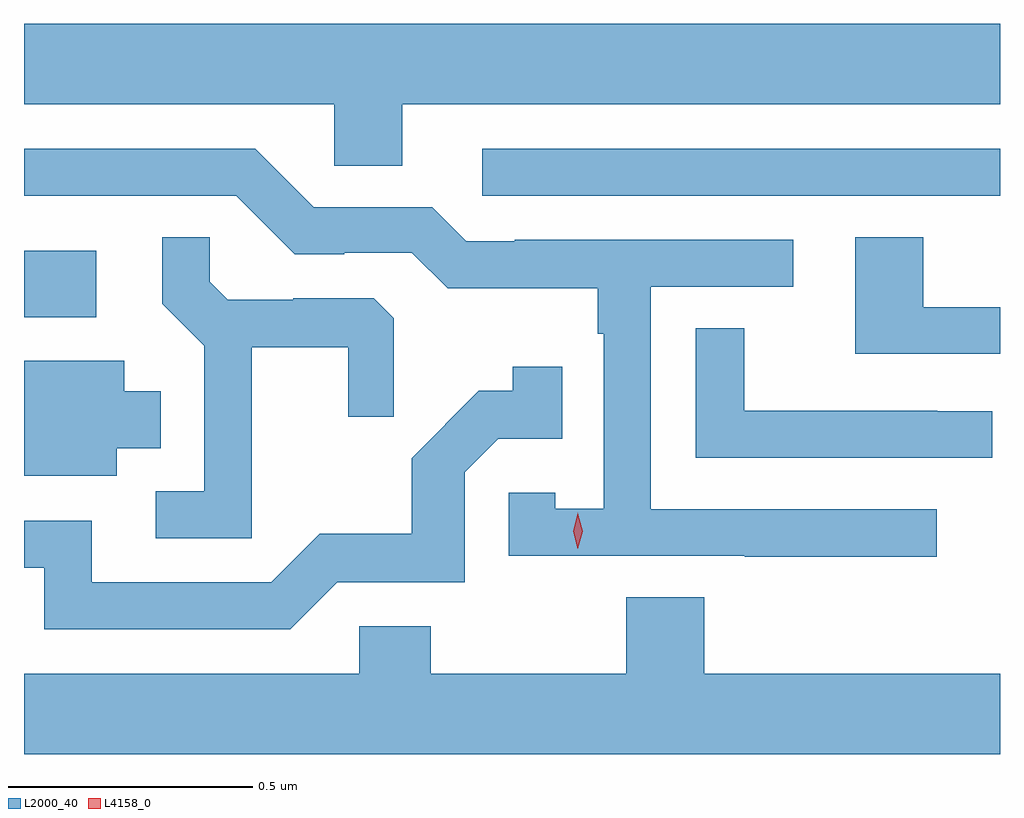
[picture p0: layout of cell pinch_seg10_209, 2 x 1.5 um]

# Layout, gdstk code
import gdstk
lib = gdstk.Library(unit=1e-6, precision=1e-09)
def R(c, l, rs):  # rectangles x0, y0, x1, y1
    for r in rs: c.add(gdstk.rectangle(r[:2], r[2:], *l))
def P(c, l, *ps):  # polygons
    for p in ps: c.add(gdstk.Polygon(p, *l))
L2000_40 = (2000, 40)
L4158_0 = (4158, 0)

pinch_seg10_209 = lib.new_cell('pinch_seg10_209')
R(pinch_seg10_209, L2000_40, [(779.592,1273.239,779.74,1273.375), (780.531,1273.488,781.592,1273.584)])
P(pinch_seg10_209, L2000_40, [(780.367,1273.676),(781.592,1273.676),(781.592,1273.84),(779.592,1273.84),(779.592,1273.676),(780.228,1273.676),(780.228,1273.549),(780.367,1273.549)],
  [(781.462,1272.846),(780.876,1272.846),(780.876,1273.302),(781.168,1273.302),(781.168,1273.398),(780.598,1273.398),(780.598,1273.395),(780.498,1273.395),(780.429,1273.464),(780.186,1273.464),(780.066,1273.584),(779.592,1273.584),(779.592,1273.488),(780.027,1273.488),(780.147,1273.368),(780.248,1273.368),(780.248,1273.371),(780.387,1273.371),(780.46,1273.298),(780.768,1273.298),(780.768,1273.205),(780.78,1273.205),(780.78,1272.847),(780.681,1272.847),(780.681,1272.879),(780.585,1272.879),(780.585,1272.75),(781.069,1272.75),(781.069,1272.748),(781.462,1272.748)],
  [(781.592,1273.26),(781.435,1273.26),(781.435,1273.403),(781.295,1273.403),(781.295,1273.164),(781.592,1273.164)],
  [(780.059,1273.178),(780.256,1273.178),(780.256,1273.035),(780.35,1273.035),(780.35,1273.237),(780.309,1273.278),(780.144,1273.278),(780.144,1273.275),(780.01,1273.275),(779.973,1273.312),(779.973,1273.403),(779.875,1273.403),(779.875,1273.267),(779.961,1273.181),(779.961,1272.882),(779.862,1272.882),(779.862,1272.786),(780.059,1272.786)],
  [(781.576,1273.046),(781.463,1273.046),(781.463,1273.047),(781.068,1273.047),(781.068,1273.217),(780.969,1273.217),(780.969,1272.951),(781.576,1272.951)],
  [(779.782,1272.971),(779.872,1272.971),(779.872,1273.087),(779.797,1273.087),(779.797,1273.15),(779.592,1273.15),(779.592,1272.914),(779.782,1272.914)],
  [(780.234,1272.696),(780.495,1272.696),(780.495,1272.921),(780.564,1272.99),(780.695,1272.99),(780.695,1273.138),(780.594,1273.138),(780.594,1273.088),(780.524,1273.088),(780.387,1272.95),(780.387,1272.795),(780.198,1272.795),(780.099,1272.696),(779.731,1272.696),(779.731,1272.822),(779.592,1272.822),(779.592,1272.726),(779.633,1272.726),(779.633,1272.6),(780.138,1272.6)],
  [(781.592,1272.508),(780.986,1272.508),(780.986,1272.665),(780.826,1272.665),(780.826,1272.508),(780.426,1272.508),(780.426,1272.606),(780.279,1272.606),(780.279,1272.508),(779.592,1272.508),(779.592,1272.344),(781.592,1272.344)])
P(pinch_seg10_209, L4158_0, [(780.727,1272.765),(780.727,1272.765),(780.717,1272.801),(780.727,1272.837),(780.727,1272.838),(780.727,1272.837),(780.737,1272.801),(780.727,1272.765)])

lib.write_gds('pinch_seg10_209.gds')
